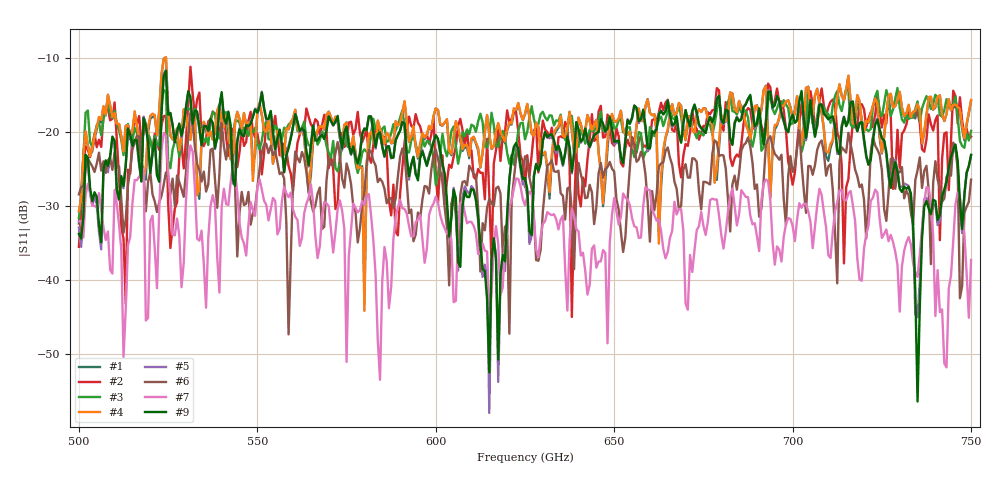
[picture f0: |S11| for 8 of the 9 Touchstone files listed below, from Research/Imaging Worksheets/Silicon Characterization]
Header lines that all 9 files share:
!Created with skrf (http://scikit-rf.org).
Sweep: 500 GHz to 750 GHz
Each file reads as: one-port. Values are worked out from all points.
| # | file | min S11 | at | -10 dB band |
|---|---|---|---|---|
| 1 | dark.s1p | -42.6 dB | 580 GHz | over 225.6 GHz wide |
| 2 | flood.s1p | -45.0 dB | 638.1 GHz | over 250 GHz wide |
| 3 | ito_ntwk.s1p | -31.6 dB | 500 GHz | over 250 GHz wide |
| 4 | off.s1p | -44.2 dB | 580 GHz | over 225.6 GHz wide |
| 5 | si_dark.s1p | -58.0 dB | 615 GHz | over 250 GHz wide |
| 6 | si_light.s1p | -47.4 dB | 558.8 GHz | over 250 GHz wide |
| 7 | si_light_fullon.s1p | -53.5 dB | 584.4 GHz | over 250 GHz wide |
| 8 | si_ntwk.s1p | -54.1 dB | 617.5 GHz | over 250 GHz wide |
| 9 | si_off.s1p | -56.5 dB | 735 GHz | over 250 GHz wide |
